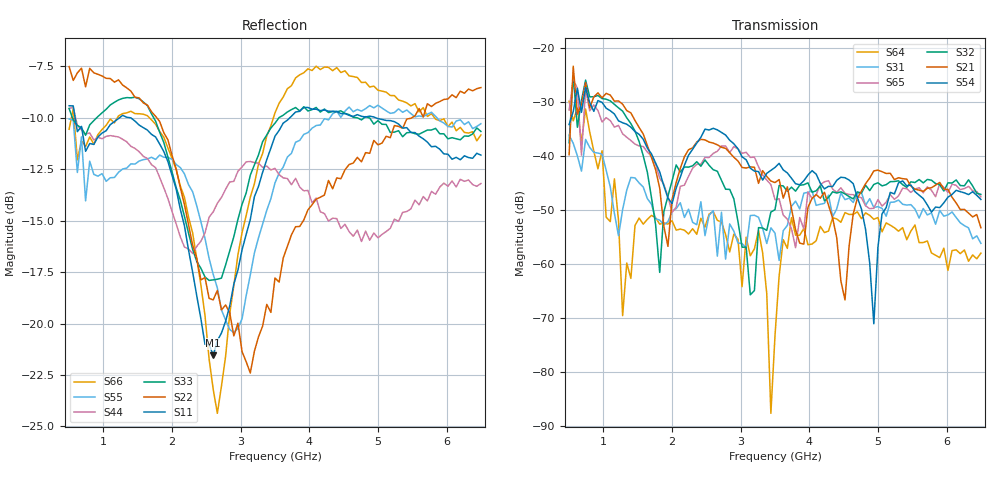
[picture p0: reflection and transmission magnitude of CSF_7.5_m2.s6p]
!Keysight Technologies,M9804A,MY58100912,A.14.10.03
!Date: Thursday, April 27, 2023 10:28:33
!Correction: S11(C  6-Port  )
!S12(C  6-Port  )
!S13(C  6-Port  )
!S14(C  6-Port  )
!S15(C  6-Port  )
!S16(C  6-Port  )
!S21(C  6-Port  )
!S22(C  6-Port  )
!S23(C  6-Port  )
!S24(C  6-Port  )
!S25(C  6-Port  )
!S26(C  6-Port  )
!S31(C  6-Port  )
!S32(C  6-Port  )
!S33(C  6-Port  )
!S34(C  6-Port  )
!S35(C  6-Port  )
!S36(C  6-Port  )
!S41(C  6-Port  )
!S42(C  6-Port  )
!S43(C  6-Port  )
!S44(C  6-Port  )
!S45(C  6-Port  )
!S46(C  6-Port  )
!S51(C  6-Port  )
!S52(C  6-Port  )
!S53(C  6-Port  )
!S54(C  6-Port  )
!S55(C  6-Port  )
!S56(C  6-Port  )
!S61(C  6-Port  )
!S62(C  6-Port  )
!S63(C  6-Port  )
!S64(C  6-Port  )
!S65(C  6-Port  )
!S66(C  6-Port  )
!S6P File: Measurement: :
# Hz S  RI  R 50
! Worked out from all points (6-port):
!   101 points, 500 MHz to 6.5 GHz, reference 50 ohm
!   strongest paths, dB at 500 MHz, 2 GHz, 3.5 GHz, 5 GHz, 6.5 GHz:
!     S54: -34.1, -48.8, -42.1, -56.9, -48.0
!     S21: -39.7, -48.0, -44.9, -42.6, -53.3
!     S32: -37.5, -44.6, -49.9, -44.9, -47.1
!     S65: -31.4, -50.4, -48.1, -48.0, -47.5
!     S31: -36.1, -50.3, -54.3, -49.4, -56.2
!     S64: -29.8, -52.0, -73.3, -51.4, -58.0
!   lowest |S11| = -21.5 dB at 2.6 GHz (marker M1), VSWR 1.18, Z = 42.5 + j2.06 ohm
!   |S11| at or under -10 dB: 587.8 MHz to 1.233 GHz (644.7 MHz wide, 70.8 % of centre); 1.4 GHz to 3.715 GHz (2.315 GHz wide, 90.5 % of centre); 4.971 GHz to end of sweep
